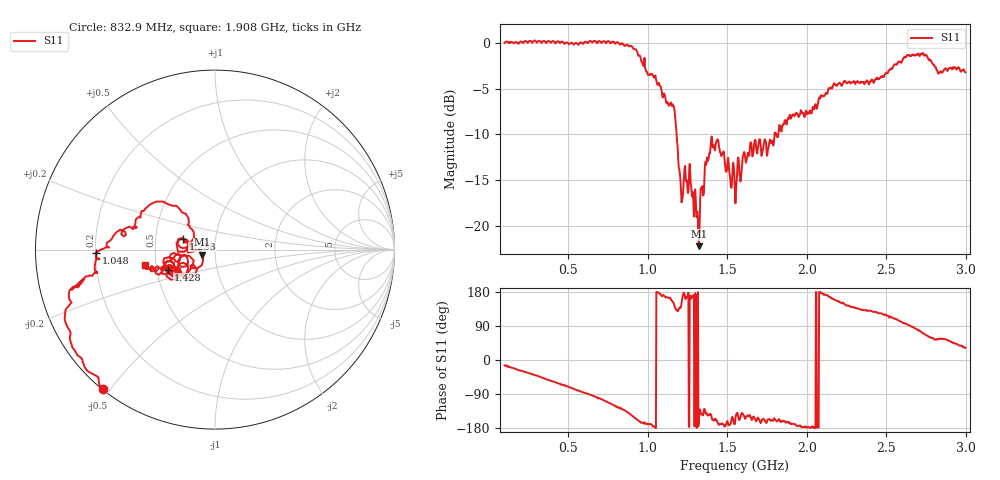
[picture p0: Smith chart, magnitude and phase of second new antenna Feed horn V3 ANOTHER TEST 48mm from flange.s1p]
# HZ S RI R 50
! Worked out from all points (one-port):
!   1009 points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, 100 MHz to 2.997 GHz, reference 50 ohm
!   lowest |S11| = -22.2 dB at 1.322 GHz (marker M1), VSWR 1.17, Z = 43.3 - j2.51 ohm
!   |S11| at or under -10 dB: 1.181 GHz to 1.798 GHz (616.1 MHz wide, 41.4 % of centre); 1.808 GHz to 1.821 GHz (12.39 MHz wide, 0.683 % of centre)
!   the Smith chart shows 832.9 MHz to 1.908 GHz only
!   S11 on the Smith chart (normalised r, x): 832.9 MHz: 0.00, -0.48; 1.048 GHz: 0.20, -0.01; 1.238 GHz: 0.70, +0.09; 1.428 GHz: 0.58, -0.14; 1.908 GHz: 0.43, -0.09
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1e8  0.9731 -0.2457
2.95441e8  0.7824 -0.6613
4.621408e8  0.4275 -0.9245
6.547077e8  -0.0741 -1.014
8.242815e8  -0.6007 -0.7734
8.329039e8  -0.6229 -0.7761
9.22002e8  -0.8317 -0.4088
9.622399e8  -0.7587 -0.2066
1.048464e9  -0.6634 -0.0164
1.157681e9  -0.4076 0.2155
1.186422e9  -0.1846 0.2076
1.209415e9  -0.1192 0.0983
1.238157e9  -0.176 0.0613
1.321507e9  -0.0716 -0.0289
1.373241e9  -0.1877 -0.1432
1.427849e9  -0.2592 -0.1136
1.548563e9  -0.143 -0.0352
1.640535e9  -0.2088 -0.1479
1.90783e9  -0.3905 -0.084
1.910704e9  -0.3976 -0.0812
2.080278e9  -0.5028 0.00924
2.163627e9  -0.547 0.1844
2.272845e9  -0.4665 0.3822
2.502775e9  -0.3233 0.6056
2.634985e9  -0.0464 0.8599
2.764321e9  0.379 0.7214
2.816056e9  0.414 0.5781
2.997126e9  0.5862 0.3665
